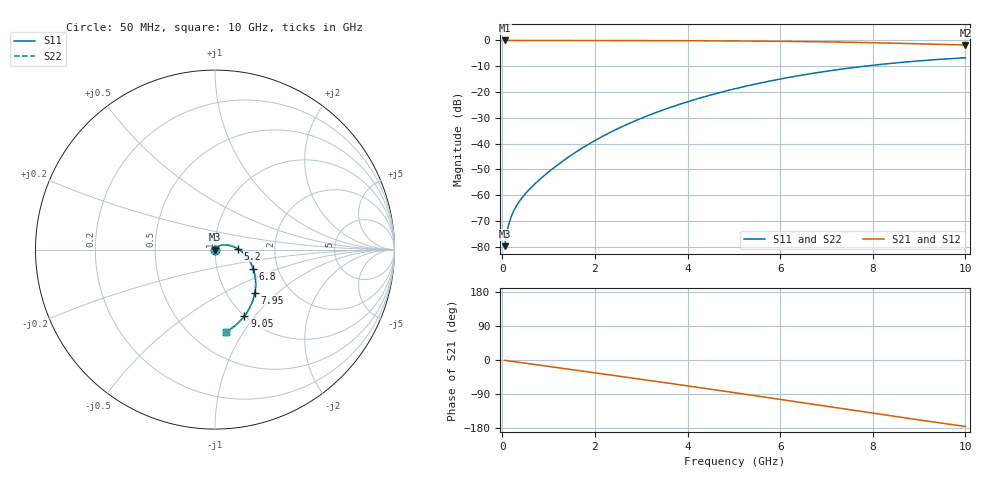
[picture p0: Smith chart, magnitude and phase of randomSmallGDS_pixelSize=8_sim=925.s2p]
! freq	dB(S11)	phase(S11)	dB(S12)	phase(S12)
!  dB(S21)	phase(S21)	dB(S22)	phase(S22)
!S-par simulation data
#  GHz  S  DB  R 50
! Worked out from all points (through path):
!   200 points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, 50 MHz to 10 GHz, reference 50 ohm
!   highest |S21| = 0.00 dB at 50 MHz (marker M1); lowest = -1.8 dB at 10 GHz (marker M2)
!   group delay of S21, straight-line fit = 49 ps
!   lowest |S11| = -79.8 dB at 50 MHz (marker M3), VSWR 1.00, Z = 50 + j0.00972 ohm
!   |S11| at or under -10 dB: start of sweep to 7.816 GHz
!   |S22| runs from -79.8 to -6.7 dB; largest |S21 - S12| = 0
!   S11 on the Smith chart (normalised r, x): 50 MHz: 1.00, +0.00; 5.2 GHz: 1.29, +0.01; 6.8 GHz: 1.50, -0.34; 7.95 GHz: 1.35, -0.72; 9.05 GHz: 1.00, -0.89; 10 GHz: 0.73, -0.84
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0.05  -79.76 71.0  -0.00 -0.9  -0.00 -0.9  -79.76 71.0
0.1  -74.04 79.0  -0.00 -1.7  -0.00 -1.7  -74.04 79.0
0.15  -70.54 81.3  -0.00 -2.6  -0.00 -2.6  -70.54 81.3
0.2  -68.01 82.1  -0.00 -3.4  -0.00 -3.4  -68.01 82.0
0.3  -64.34 82.1  -0.00 -5.1  -0.00 -5.1  -64.34 82.0
0.45  -60.45 81.0  -0.01 -7.7  -0.01 -7.7  -60.45 81.0
0.7  -55.66 78.7  -0.01 -11.9  -0.01 -11.9  -55.66 78.6
1  -50.98 75.3  -0.02 -17.0  -0.02 -17.0  -50.98 75.3
1.35  -46.22 70.6  -0.03 -22.9  -0.03 -22.9  -46.22 70.5
1.75  -41.46 64.1  -0.03 -29.6  -0.03 -29.6  -41.46 64.0
2.5  -34.15 50.8  -0.05 -42.4  -0.05 -42.4  -34.15 50.7
3.4  -27.40 34.6  -0.08 -57.8  -0.08 -57.8  -27.40 34.5
4.25  -22.42 19.3  -0.12 -72.7  -0.12 -72.7  -22.42 19.3
5.05  -18.61 5.0  -0.19 -86.8  -0.19 -86.8  -18.61 5.0
5.2  -17.97 2.3  -0.21 -89.5  -0.21 -89.5  -17.97 2.3
5.95  -15.12 -11.2  -0.32 -103.0  -0.32 -103.0  -15.12 -11.2
6.7  -12.76 -24.7  -0.47 -116.6  -0.47 -116.6  -12.76 -24.7
6.8  -12.47 -26.5  -0.50 -118.4  -0.50 -118.4  -12.47 -26.5
7.95  -9.72 -47.1  -0.86 -139.3  -0.86 -139.3  -9.72 -47.1
8.35  -8.96 -54.1  -1.02 -146.5  -1.02 -146.5  -8.96 -54.1
9.05  -7.85 -66.2  -1.32 -159.0  -1.32 -159.0  -7.85 -66.2
10  -6.73 -82.1  -1.76 -175.5  -1.76 -175.5  -6.73 -82.1
